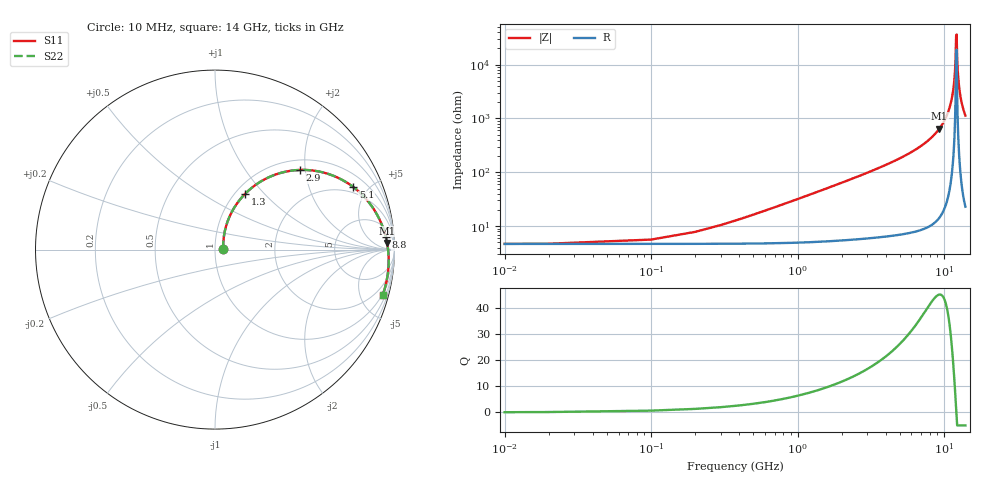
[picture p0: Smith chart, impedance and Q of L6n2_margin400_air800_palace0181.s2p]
! Created with skrf 2.2.0 (http://scikit-rf.org).
# GHz S DB R 50.0
! Port[1] = P1
! Port[2] = P2
!freq dBS11 angS11 dBS21 angS21 dBS12 angS12 dBS22 angS22
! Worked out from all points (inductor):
!   142 points, 10 MHz to 14 GHz, reference 50 ohm
!   read as one part in series: L = 4.98 nH near 500 MHz
!   highest Q = 45.1 at 9.3 GHz (marker M1), where L = 11.1 nH
!   self-resonance near 12.1 GHz
!   S11 on the Smith chart (normalised r, x): 10 MHz: 1.09, +0.01; 1.3 GHz: 1.11, +0.78; 2.9 GHz: 1.22, +1.87; 5.1 GHz: 1.64, +4.01; 8.8 GHz: 12, +19; 14 GHz: 0.94, -7.49
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0.01  -26.97 3.4  -0.40 -0.2  -0.40 -0.2  -26.97 3.4
0.6  -15.30 65.9  -0.59 -10.8  -0.59 -10.8  -15.30 65.9
1.3  -9.08 61.7  -1.11 -22.3  -1.11 -22.3  -9.08 61.7
2.4  -4.84 48.7  -2.40 -37.9  -2.40 -37.9  -4.84 48.7
2.9  -3.77 43.2  -3.12 -43.8  -3.12 -43.8  -3.77 43.2
4.7  -1.70 27.2  -6.05 -60.8  -6.05 -60.8  -1.70 27.2
5.1  -1.45 24.3  -6.76 -63.8  -6.76 -63.8  -1.45 24.3
7.1  -0.70 12.3  -10.68 -76.3  -10.68 -76.3  -0.70 12.3
8.8  -0.41 4.3  -14.94 -84.5  -14.94 -84.5  -0.41 4.3
9.3  -0.36 2.2  -16.52 -86.6  -16.52 -86.6  -0.36 2.2
9.4  -0.35 1.8  -16.86 -87.0  -16.86 -87.0  -0.35 1.8
10.9  -0.26 -4.1  -24.16 -92.4  -24.16 -92.4  -0.26 -4.1
11.7  -0.25 -7.1  -33.19 -93.1  -33.19 -93.1  -0.25 -7.1
11.9  -0.24 -7.8  -38.27 -90.9  -38.27 -90.9  -0.24 -7.8
12  -0.24 -8.1  -42.58 -87.0  -42.58 -87.0  -0.24 -8.1
12.1  -0.24 -8.5  -50.85 -69.0  -50.85 -69.0  -0.24 -8.5
12.2  -0.24 -8.8  -51.47 49.8  -51.47 49.8  -0.24 -8.8
12.3  -0.24 -9.2  -42.90 69.8  -42.90 69.8  -0.24 -9.2
12.4  -0.24 -9.5  -38.54 73.9  -38.54 73.9  -0.25 -9.5
12.7  -0.25 -10.6  -31.76 76.5  -31.76 76.5  -0.25 -10.6
13.2  -0.26 -12.3  -26.24 76.2  -26.24 76.2  -0.26 -12.3
14  -0.28 -15.0  -21.46 74.1  -21.46 74.1  -0.28 -15.0
